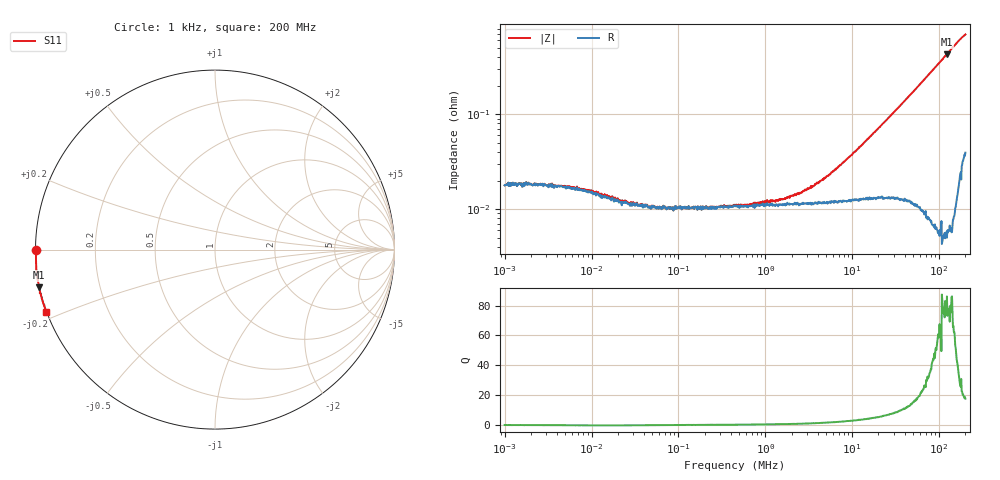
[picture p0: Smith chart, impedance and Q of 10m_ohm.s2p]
! ListType=Log
# MHZ S RI R 50
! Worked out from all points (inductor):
!   1000 points, 1 kHz to 200 MHz, reference 50 ohm
!   read as one part in shunt: L = 565 pH near 10.4 MHz
!   highest Q = 78.2 at 122.7 MHz (marker M1), where L = 558 pH
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0.001  -0.997 -3.03e-05  0.000711 -1.7e-06  0 0  0 0
0.0017758  -0.9973 -0.000104  0.000767 -7.14e-05  0 0  0 0
0.0027569  -0.9972 -0.000257  0.000725 -9.94e-05  0 0  0 0
0.0076941  -0.9971 0.000168  0.000638 -0.000125  0 0  0 0
0.0098239  -0.9971 0.000118  0.000608 -0.000156  0 0  0 0
0.0274168  -0.997 4.8e-05  0.000453 -7.86e-05  0 0  0 0
0.0584804  -0.997 1.33e-05  0.000409 -5.05e-05  0 0  0 0
0.2533788  -0.997 -0.00038  0.000412 4.4e-05  0 0  0 0
0.4499541  -0.9968 -0.000747  0.000427 8.23e-05  0 0  0 0
0.6334985  -0.9968 -0.00106  0.000416 0.000116  0 0  0 0
1.643009  -0.9969 -0.00294  0.00045 0.00024  0 0  0 0
2.519774  -0.997 -0.00436  0.000445 0.000382  0 0  0 0
3.419952  -0.9969 -0.00613  0.000462 0.000512  0 0  0 0
5.181261  -0.9971 -0.00908  0.000457 0.000771  0 0  0 0
7.032242  -0.9973 -0.0123  0.000481 0.00102  0 0  0 0
12.79689  -0.9974 -0.0221  0.00051 0.0018  0 0  0 0
26.31347  -0.9974 -0.0452  0.00055 0.00365  0 0  0 0
64.20084  -0.9957 -0.1088  0.00046 0.00882  0 0  0 0
91.50071  -0.9901 -0.1553  0.000407 0.0127  0 0  0 0
122.6808  -0.9798 -0.211  0.000495 0.0172  0 0  0 0
170.6269  -0.958 -0.2961  0.00137 0.0242  0 0  0 0
200  -0.9389 -0.3462  0.00233 0.0275  0 0  0 0
